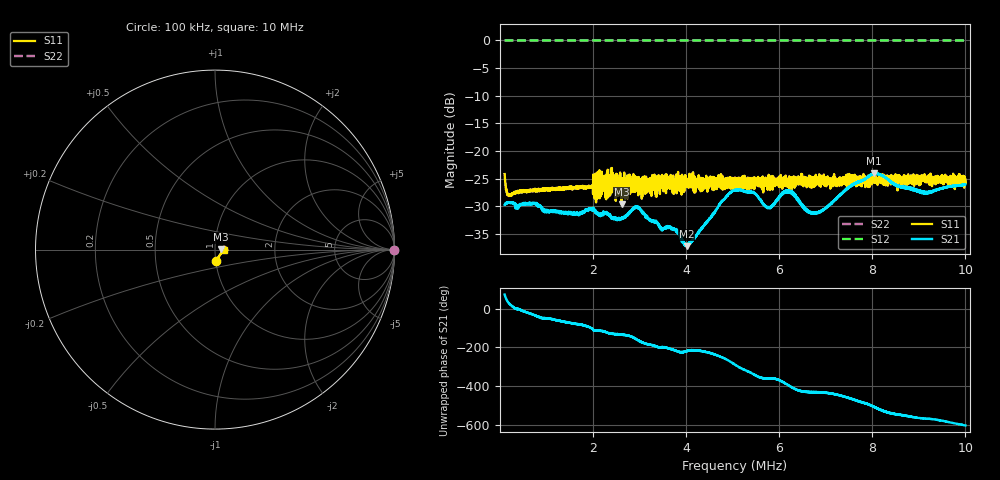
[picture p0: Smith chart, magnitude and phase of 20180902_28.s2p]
! Anritsu VNA Master:  Model: MS2026C/19
! SN:  1815009
! /card0/usr/20180902_28.s2p
! Existing Calibration Information:
! TYPE:  Current Settings,  Active Cal Settings
! TIME:  09/02/2018 06:16:32 PM,  09/02/2018 11:58:48 AM
! INTERNAL TEMP:  49.5 C,  48.8 C
! # POINTS:  4001,  4001
! START FREQ:  100.000 kHz,  100.000 kHz
! STOP FREQ:  10.000 MHz,  10.000 MHz
! SOURCE POWER:  Low,  Low
! IFBW:  500 Hz,  500 Hz
! AVG FACTOR:  5 ,  1
! REF PLANE 1:  0 mm,  0 mm
! REF PLANE 2:  0 mm,  0 mm
! CAL TYPE:  1P2P S11,S21,  1P2P S11,S21
! CAL METHOD:  SOLT,  SOLT
! CAL LINE TYPE:  Coax,  Coax
! DUT PORT 1:  N-Conn(M),  N-Conn(M)
! DUT PORT 2:  N-Conn(M),  N-Conn(M)
! CAL STATUS:  OK: Accuracy High,  --
# GHZ S RI R 50.0
! FREQ.GHZ  S11RE  S11IM  S21RE  S21IM  S12RE  S12IM  S22RE  S22IM
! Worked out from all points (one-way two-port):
!   4001 points, 100 kHz to 10 MHz, reference 50 ohm
!   highest |S21| = -24.04 dB at 8.03 MHz (marker M1); lowest = -37.2 dB at 4.008 MHz (marker M2)
!   lowest |S11| = -29.6 dB at 2.612 MHz (marker M3), VSWR 1.07, Z = 53.4 + j0.0732 ohm
!   |S11| at or under -10 dB: start of sweep to end of sweep
!   |S22| runs from 0.0 to 0.0 dB; largest |S21 - S12| = 1.1
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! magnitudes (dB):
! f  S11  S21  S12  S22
! 100 kHz  -24.2  -29.7  0.0  0.0
! 164.3 kHz  -27.7  -29.3  0.0  0.0
! 216.3 kHz  -27.9  -29.3  0.0  0.0
! 1.751 MHz  -26.5  -31.2  0.0  0.0
! 1.974 MHz  -26.6  -30.7  0.0  0.0
! 2.419 MHz  -26.9  -32.2  0.0  0.0
! 2.612 MHz  -29.6  -32.1  0.0  0.0
! 2.944 MHz  -24.8  -30.0  0.0  0.0
! 3.402 MHz  -27.0  -33.4  0.0  0.0
! 3.765 MHz  -27.1  -34.2  0.0  0.0
! 4.008 MHz  -26.4  -37.2  0.0  0.0
! 5.05 MHz  -24.8  -27.1  0.0  0.0
! 5.448 MHz  -25.2  -27.6  0.0  0.0
! 5.77 MHz  -25.9  -30.2  0.0  0.0
! 6.223 MHz  -25.1  -27.6  0.0  0.0
! 6.701 MHz  -26.3  -31.1  0.0  0.0
! 6.931 MHz  -25.1  -30.7  0.0  0.0
! 7.52 MHz  -25.9  -26.5  0.0  0.0
! 8.03 MHz  -24.5  -24.0  0.0  0.0
! 8.352 MHz  -25.5  -25.3  0.0  0.0
! 9.131 MHz  -25.1  -27.4  0.0  0.0
! 10 MHz  -25.8  -26.1  0.0  0.0
